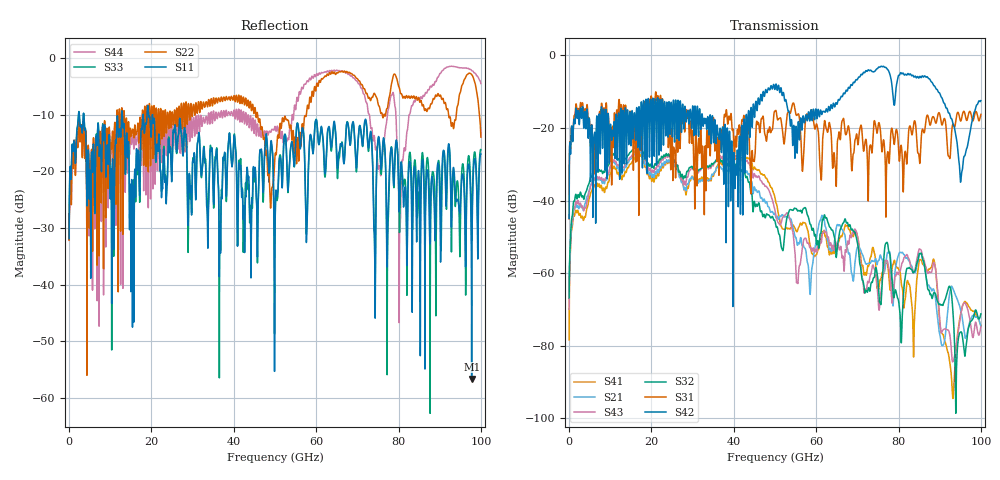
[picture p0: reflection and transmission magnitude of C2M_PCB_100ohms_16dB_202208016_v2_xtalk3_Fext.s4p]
! Info: Touchstone file created by Circ.  Input file=Intel_C2M_200G_5p0in_202208016_staggered.circ
# Hz S RI R 50
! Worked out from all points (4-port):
!   10000 points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, 10 MHz to 100 GHz, reference 50 ohm
!   strongest paths, dB at 10 MHz, 25.01 GHz, 50.01 GHz, 75.01 GHz, 100 GHz:
!     S42: -44.9, -19.2, -9.3, -3.5, -12.5
!     S31: -45.0, -20.9, -15.3, -19.7, -16.2
!     S32: -66.8, -28.3, -45.7, -62.0, -71.2
!     S43: -69.9, -28.6, -42.7, -66.7, -74.7
!     S21: -63.5, -29.5, -43.6, -56.6, -74.6
!     S41: -78.4, -29.5, -39.3, -64.0, -74.3
!   lowest |S11| = -56.6 dB at 97.76 GHz (marker M1), VSWR 1.00, Z = 50.1 - j0.0534 ohm
!   |S11| at or under -10 dB: 3.576 GHz to 12.77 GHz (9.191 GHz wide, 112 % of centre); 12.96 GHz to 17.92 GHz (4.965 GHz wide, 32.2 % of centre); 20.26 GHz to end of sweep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
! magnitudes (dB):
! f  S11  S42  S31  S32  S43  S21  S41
! 10 MHz  -31.9  -44.9  -45.0  -66.8  -69.9  -63.5  -78.4
! 1.41 GHz  -17.1  -18.8  -16.6  -39.6  -41.9  -41.8  -43.6
! 16.82 GHz  -16.3  -17.1  -26.8  -24.7  -25.7  -26.3  -27.3
! 65.94 GHz  -15.2  -11.5  -22.5  -47.7  -52.6  -47.2  -49.8
! 80.4 GHz  -21.0  -5.0  -26.5  -71.7  -59.4  -54.2  -59.8
! 97.76 GHz  -56.6  -18.6  -17.0  -73.0  -75.9  -72.0  -70.2
! 100 GHz  -16.9  -12.5  -16.2  -71.2  -74.7  -74.6  -74.3
